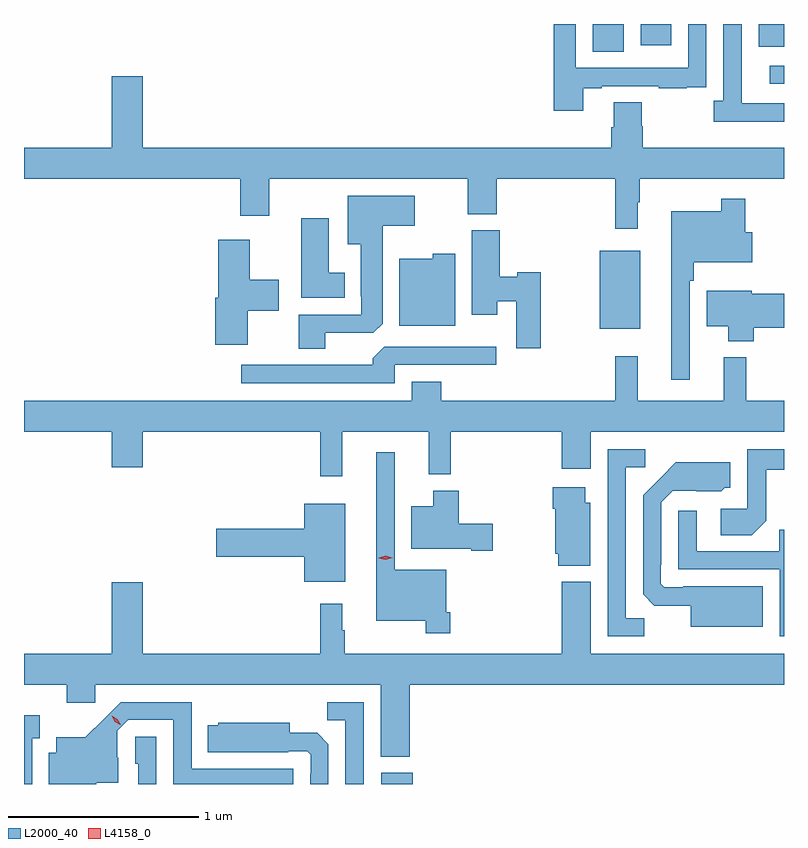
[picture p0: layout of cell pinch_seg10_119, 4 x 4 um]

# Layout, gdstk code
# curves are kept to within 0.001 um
import gdstk
lib = gdstk.Library(unit=1e-6, precision=1e-09)
def R(c, l, rs):  # rectangles x0, y0, x1, y1
    for r in rs: c.add(gdstk.rectangle(r[:2], r[2:], *l))
def P(c, l, *ps):  # polygons
    for p in ps: c.add(gdstk.Polygon(p, *l))
L2000_40 = (2000, 40)
L4158_0 = (4158, 0)

pinch_seg10_119 = lib.new_cell('pinch_seg10_119')
R(pinch_seg10_119, L2000_40, [(717.875,1275.818,718.042,1275.877), (719.024,1278.215,719.239,1278.625), (719.919,1279.503,719.995,1279.599), (718.988,1279.672,719.152,1279.818), (719.861,1279.697,719.995,1279.818), (719.24,1279.707,719.401,1279.818)])
P(pinch_seg10_119, L2000_40, [(719.995,1279.401),(719.773,1279.401),(719.773,1279.601),(719.772,1279.601),(719.772,1279.818),(719.676,1279.818),(719.676,1279.414),(719.625,1279.414),(719.625,1279.304),(719.995,1279.304)],
  [(718.939,1279.479),(719.035,1279.479),(719.035,1279.491),(719.335,1279.491),(719.335,1279.479),(719.483,1279.479),(719.483,1279.485),(719.585,1279.485),(719.585,1279.594),(719.586,1279.594),(719.586,1279.818),(719.49,1279.818),(719.49,1279.587),(718.899,1279.587),(718.899,1279.818),(718.783,1279.818),(718.783,1279.362),(718.939,1279.362)],
  [(719.224,1278.881),(719.236,1278.881),(719.236,1279.004),(719.995,1279.004),(719.995,1279.168),(719.252,1279.168),(719.252,1279.281),(719.247,1279.281),(719.247,1279.406),(719.099,1279.406),(719.099,1279.274),(719.087,1279.274),(719.087,1279.168),(716.62,1279.168),(716.62,1279.543),(716.456,1279.543),(716.456,1279.168),(715.995,1279.168),(715.995,1279.004),(717.134,1279.004),(717.134,1278.81),(717.286,1278.81),(717.286,1279.004),(718.331,1279.004),(718.331,1278.817),(718.484,1278.817),(718.484,1279.004),(719.107,1279.004),(719.107,1278.741),(719.224,1278.741)],
  [(717.58,1278.192),(717.834,1278.192),(717.883,1278.241),(717.883,1278.755),(718.051,1278.755),(718.051,1278.913),(717.698,1278.913),(717.698,1278.659),(717.767,1278.659),(717.767,1278.385),(717.771,1278.385),(717.771,1278.288),(717.44,1278.288),(717.44,1278.109),(717.58,1278.109)],
  [(719.499,1278.467),(719.519,1278.467),(719.519,1278.563),(719.827,1278.563),(719.827,1278.721),(719.792,1278.721),(719.792,1278.898),(719.664,1278.898),(719.664,1278.832),(719.402,1278.832),(719.402,1277.946),(719.499,1277.946)],
  [(717.682,1278.508),(717.598,1278.508),(717.598,1278.796),(717.455,1278.796),(717.455,1278.377),(717.682,1278.377)],
  [(718.716,1278.512),(718.59,1278.512),(718.59,1278.489),(718.499,1278.489),(718.499,1278.732),(718.352,1278.732),(718.352,1278.288),(718.486,1278.288),(718.486,1278.359),(718.586,1278.359),(718.586,1278.111),(718.716,1278.111)],
  [(717.172,1278.308),(717.337,1278.308),(717.337,1278.471),(717.184,1278.471),(717.184,1278.682),(717.017,1278.682),(717.017,1278.377),(717.002,1278.377),(717.002,1278.129),(717.172,1278.129)],
  [(718.264,1278.61),(718.146,1278.61),(718.146,1278.583),(717.971,1278.583),(717.971,1278.23),(718.264,1278.23)],
  [(719.837,1278.22),(719.995,1278.22),(719.995,1278.398),(719.824,1278.398),(719.824,1278.415),(719.588,1278.415),(719.588,1278.227),(719.702,1278.227),(719.702,1278.149),(719.837,1278.149)],
  [(717.945,1278.024),(718.48,1278.024),(718.48,1278.12),(717.891,1278.12),(717.83,1278.058),(717.83,1278.024),(717.138,1278.024),(717.138,1277.928),(717.945,1277.928)],
  [(717.671,1277.672),(718.124,1277.672),(718.124,1277.447),(718.241,1277.447),(718.241,1277.672),(718.826,1277.672),(718.826,1277.478),(718.978,1277.478),(718.978,1277.672),(719.995,1277.672),(719.995,1277.836),(719.795,1277.836),(719.795,1278.064),(719.678,1278.064),(719.678,1277.836),(719.225,1277.836),(719.225,1278.07),(719.107,1278.07),(719.107,1277.836),(718.19,1277.836),(718.19,1277.935),(718.037,1277.935),(718.037,1277.836),(715.995,1277.836),(715.995,1277.672),(716.456,1277.672),(716.456,1277.484),(716.62,1277.484),(716.62,1277.672),(717.553,1277.672),(717.553,1277.439),(717.671,1277.439)],
  [(719.901,1277.204),(719.901,1277.472),(719.995,1277.472),(719.995,1277.58),(719.802,1277.58),(719.802,1277.268),(719.661,1277.268),(719.661,1277.128),(719.825,1277.128)],
  [(719.259,1276.691),(719.163,1276.691),(719.163,1277.484),(719.266,1277.484),(719.266,1277.58),(719.067,1277.58),(719.067,1276.596),(719.259,1276.596)],
  [(718.238,1276.723),(718.218,1276.723),(718.218,1276.945),(717.945,1276.945),(717.945,1277.563),(717.848,1277.563),(717.848,1276.676),(718.11,1276.676),(718.11,1276.611),(718.238,1276.611)],
  [(719.884,1276.858),(719.464,1276.858),(719.464,1276.854),(719.364,1276.854),(719.346,1276.872),(719.346,1276.972),(719.349,1276.972),(719.349,1277.301),(719.409,1277.361),(719.666,1277.36),(719.682,1277.376),(719.713,1277.376),(719.713,1277.512),(719.425,1277.512),(719.253,1277.338),(719.253,1276.816),(719.312,1276.757),(719.504,1276.757),(719.504,1276.646),(719.884,1276.646)],
  [(718.975,1277.298),(718.948,1277.298),(718.948,1277.38),(718.778,1277.38),(718.778,1277.267),(718.79,1277.267),(718.79,1277.031),(718.808,1277.031),(718.808,1276.967),(718.975,1276.967)],
  [(718.462,1277.187),(718.283,1277.187),(718.283,1277.362),(718.148,1277.362),(718.148,1277.281),(718.034,1277.281),(718.034,1277.057),(718.349,1277.057),(718.349,1277.045),(718.462,1277.045)],
  [(717.685,1277.293),(717.47,1277.293),(717.47,1277.162),(717.006,1277.162),(717.006,1277.015),(717.47,1277.015),(717.47,1276.883),(717.685,1276.883)],
  [(719.995,1277.156),(719.971,1277.156),(719.971,1277.043),(719.535,1277.043),(719.535,1277.257),(719.439,1277.257),(719.439,1276.947),(719.973,1276.947),(719.973,1276.596),(719.995,1276.596)],
  [(718.025,1276.34),(719.995,1276.34),(719.995,1276.504),(718.978,1276.504),(718.978,1276.882),(718.826,1276.882),(718.826,1276.504),(717.682,1276.504),(717.682,1276.628),(717.67,1276.628),(717.67,1276.768),(717.553,1276.768),(717.553,1276.504),(716.62,1276.504),(716.62,1276.879),(716.456,1276.879),(716.456,1276.504),(715.995,1276.504),(715.995,1276.34),(716.219,1276.34),(716.219,1276.245),(716.37,1276.245),(716.37,1276.34),(717.872,1276.34),(717.872,1275.962),(718.025,1275.962)],
  [(716.376,1275.824),(716.491,1275.824),(716.491,1275.956),(716.487,1275.956),(716.487,1276.098),(716.544,1276.155),(716.781,1276.155),(716.781,1275.818),(717.411,1275.818),(717.411,1275.897),(716.877,1275.897),(716.877,1276.248),(716.504,1276.248),(716.317,1276.063),(716.165,1276.063),(716.165,1275.982),(716.126,1275.982),(716.126,1275.818),(716.376,1275.818)],
  [(717.783,1276.248),(717.592,1276.248),(717.592,1276.153),(717.687,1276.153),(717.687,1275.818),(717.783,1275.818)],
  [(716.038,1276.059),(716.077,1276.059),(716.077,1276.18),(715.995,1276.18),(715.995,1275.818),(716.038,1275.818)],
  [(717.597,1276.028),(717.538,1276.087),(717.394,1276.087),(717.394,1276.141),(717.018,1276.141),(717.018,1276.126),(716.962,1276.126),(716.962,1275.986),(717.386,1275.986),(717.386,1275.99),(717.486,1275.99),(717.504,1275.972),(717.504,1275.872),(717.501,1275.872),(717.501,1275.818),(717.597,1275.818)],
  [(716.691,1276.067),(716.58,1276.067),(716.58,1275.924),(716.595,1275.924),(716.595,1275.818),(716.691,1275.818)])
P(pinch_seg10_119, L4158_0, [(717.899,1276.999),(717.863,1277.007),(717.863,1277.008),(717.863,1277.008),(717.899,1277.019),(717.934,1277.01),(717.935,1277.01),(717.934,1277.01)],
  [(716.502,1276.13),(716.472,1276.146),(716.456,1276.176),(716.456,1276.176),(716.456,1276.176),(716.486,1276.16),(716.503,1276.131),(716.503,1276.13)])

lib.write_gds('pinch_seg10_119.gds')
